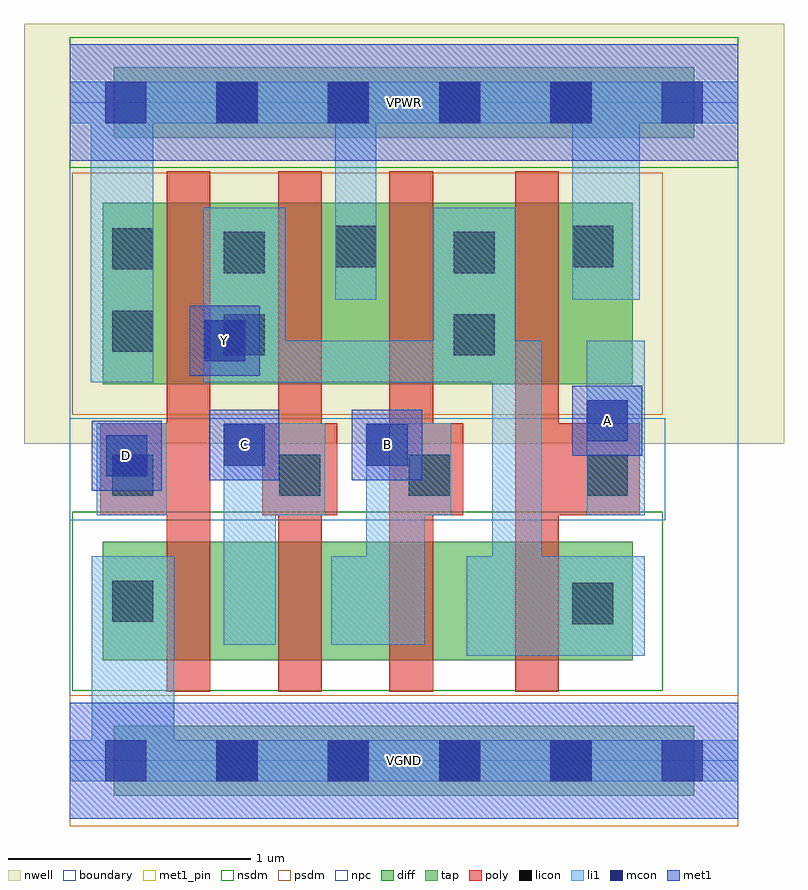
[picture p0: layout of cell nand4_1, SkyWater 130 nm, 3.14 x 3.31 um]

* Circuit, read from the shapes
.subckt nand4_1 A B C D VGND VPWR Y
XM1 n1 D VGND VGND sky130_fd_pr__nfet_01v8 w=0.49 l=0.18
XM2 n2 C n1 VGND sky130_fd_pr__nfet_01v8 w=0.49 l=0.18
XM3 n3 B n2 VGND sky130_fd_pr__nfet_01v8 w=0.49 l=0.18
XM4 Y A n3 VGND sky130_fd_pr__nfet_01v8 w=0.49 l=0.18
XM5 Y D VPWR VPWR sky130_fd_pr__pfet_01v8 w=0.75 l=0.18
XM6 VPWR C Y VPWR sky130_fd_pr__pfet_01v8 w=0.75 l=0.18
XM7 Y B VPWR VPWR sky130_fd_pr__pfet_01v8 w=0.75 l=0.18
XM8 VPWR A Y VPWR sky130_fd_pr__pfet_01v8 w=0.75 l=0.18
.ends

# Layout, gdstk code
import gdstk
lib = gdstk.Library(unit=1e-6, precision=1e-09)
def R(c, l, rs):  # rectangles x0, y0, x1, y1
    for r in rs: c.add(gdstk.rectangle(r[:2], r[2:], *l))
def A(c, l, x, y, w, h, nx, ny, dx, dy):  # array of equal rectangles
    R(c, l, [(x+i*dx, y+j*dy, x+i*dx+w, y+j*dy+h) for i in range(nx) for j in range(ny)])
nwell = (64, 20)
diff = (65, 20)
tap = (65, 44)
poly = (66, 20)
licon = (66, 44)
li1 = (67, 20)
mcon = (67, 44)
met1_pin = (68, 16)
met1 = (68, 20)
nsdm = (93, 44)
psdm = (94, 20)
npc = (95, 20)
boundary = (235, 4)

nand4_1 = lib.new_cell('nand4_1')
R(nand4_1, nwell, [(-0.19,1.31,2.95,3.045), (0,1.31,2.76,3.045)])
R(nand4_1, diff, [(0.135,0.415,2.325,0.905), (0.135,1.555,2.325,2.305)])
R(nand4_1, tap, [(0.18,-0.145,2.58,0.145), (0.18,2.575,2.58,2.865)])
A(nand4_1, poly, 0.4, 0.285, 0.18, 2.15, 3, 1, 0.46, 0)
R(nand4_1, poly, [(1.84,0.285,2.02,2.435), (0.125,1.015,0.58,1.395), (0.795,1.015,1.105,1.395), (1.32,1.015,1.625,1.395), (1.84,1.015,2.355,1.395)])
A(nand4_1, licon, 0.605, -0.085, 0.17, 0.17, 4, 2, 0.46, 2.72)
R(nand4_1, licon, [(2.075,0.565,2.245,0.735), (0.175,0.575,0.345,0.745), (0.175,1.095,0.345,1.265), (0.865,1.095,1.035,1.265), (1.4,1.095,1.57,1.265), (2.135,1.095,2.305,1.265), (0.635,1.675,0.805,1.845), (1.585,1.675,1.755,1.845), (0.175,1.69,0.345,1.86), (0.635,2.015,0.805,2.185), (1.585,2.015,1.755,2.185), (0.175,2.03,0.345,2.2), (1.095,2.04,1.265,2.21), (2.075,2.04,2.245,2.21)])
R(nand4_1, li1, [(0,-0.085,2.76,0.085), (0.09,-0.085,0.43,0.845), (1.64,0.435,2.375,0.845), (1.745,0.435,1.95,1.735), (0.635,0.48,0.85,1.395), (1.08,0.48,1.465,0.845), (1.225,0.48,1.465,1.395), (0.11,1.015,0.4,1.395), (0.635,1.015,1.055,1.395), (1.225,1.015,1.575,1.395), (2.135,1.015,2.375,1.735), (0.085,1.565,0.345,2.805), (0.55,1.565,0.89,2.285), (0.55,1.565,1.95,1.735), (1.5,1.565,1.84,2.285), (1.095,1.905,1.265,2.805), (2.075,1.905,2.355,2.805), (0,2.635,2.76,2.805)])
A(nand4_1, mcon, 0.145, -0.085, 0.17, 0.17, 6, 2, 0.46, 2.72)
R(nand4_1, mcon, [(0.15,1.175,0.32,1.345), (0.635,1.22,0.805,1.39), (1.225,1.22,1.395,1.39), (2.135,1.32,2.305,1.49), (0.555,1.65,0.725,1.82)])
R(nand4_1, met1_pin, [(0,-0.24,2.76,0.24), (0.09,1.115,0.38,1.405), (0.575,1.16,0.865,1.45), (1.165,1.16,1.455,1.45), (2.075,1.26,2.365,1.55), (0.495,1.59,0.785,1.88), (0,2.48,2.76,2.96)])
R(nand4_1, met1, [(0,-0.24,2.76,0.24), (0.09,1.115,0.38,1.405), (0.575,1.16,0.865,1.45), (1.165,1.16,1.455,1.45), (2.075,1.26,2.365,1.55), (0.495,1.59,0.785,1.88), (0,2.48,2.76,2.96)])
R(nand4_1, nsdm, [(0.01,0.29,2.45,1.03), (0,2.45,2.76,2.99)])
R(nand4_1, psdm, [(0,-0.27,2.76,0.27), (0.01,1.43,2.45,2.43)])
R(nand4_1, npc, [(0,0.995,2.46,1.415)])
R(nand4_1, boundary, [(0,0,2.76,2.72)])
nand4_1.add(gdstk.Label('A', (2.22,1.405), layer=68, texttype=5))
nand4_1.add(gdstk.Label('B', (1.31,1.305), layer=68, texttype=5))
nand4_1.add(gdstk.Label('C', (0.72,1.305), layer=68, texttype=5))
nand4_1.add(gdstk.Label('D', (0.235,1.26), layer=68, texttype=5))
nand4_1.add(gdstk.Label('Y', (0.64,1.735), layer=68, texttype=5))
nand4_1.add(gdstk.Label('VPWR', (1.38,2.72), layer=68, texttype=5))
nand4_1.add(gdstk.Label('VGND', (1.38,0), layer=68, texttype=5))
nand4_1.add(gdstk.Label('A', (2.22,1.405), layer=68, texttype=16))
nand4_1.add(gdstk.Label('B', (1.31,1.305), layer=68, texttype=16))
nand4_1.add(gdstk.Label('C', (0.72,1.305), layer=68, texttype=16))
nand4_1.add(gdstk.Label('D', (0.235,1.26), layer=68, texttype=16))
nand4_1.add(gdstk.Label('Y', (0.64,1.735), layer=68, texttype=16))
nand4_1.add(gdstk.Label('VPWR', (1.38,2.72), layer=68, texttype=16))
nand4_1.add(gdstk.Label('VGND', (1.38,0), layer=68, texttype=16))

lib.write_gds('nand4_1.gds')
